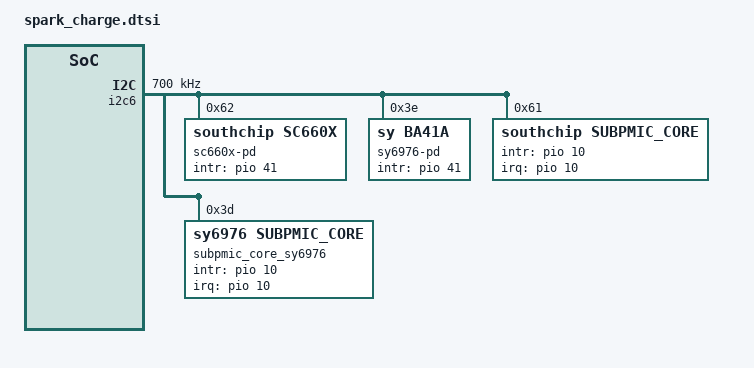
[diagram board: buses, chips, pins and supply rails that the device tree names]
#include "subpmic_irq.h"
&i2c6 {
	status = "okay";

	rt1711h@4e {
		compatible = "richtek,rt1711h";
		reg = <0x4e>;
		status = "disable";
		rt-tcpc,name = "type_c_port0"; /* tcpc_device's name */
		rt-tcpc,role_def = <5>; /* 0: Unknown, 1: SNK, 2: SRC */
					/* 3: DRP, 4: Try.SRC, 5: Try.SNK */
		rt-tcpc,rp_level = <0>; /* 0: Default, 1: 1.5, 2: 3.0 */
		rt-tcpc,vconn_supply  = <1>;  /* 0: Never, 1: Always, */
					      /* 2: EMarkOnly, 3: StartOnly */
		rt-tcpc,notifier_supply_num = <2>;
		rt1711pd,intr_gpio_num = <76>;
		pd-data {
			pd,vid = <0x29cf>;
			pd,pid = <0x1711>;
			pd,source-cap-ext = /bits/ 8 <0xcf 0x29 0x11 0x17
						      0x00 0x00 0x00 0x00
						      0x00 0x00 0x00 0x00
						      0x00 0x00 0x00 0x00
						      0x00 0x00 0x00 0x00
						      0x00 0x00 0x01 0x02
						      0x00>;
			pd,mfrs = "RichtekTCPC";

			/*
			 *	VSAFE5V = 0, MAX_POWER = 1, CUSTOM = 2,
			 *	MAX_POWER_LV = 0x21, MAX_POWER_LVIC = 0x31
			 *	MAX_POWER_HV = 0x41, MAX_POWER_HVIC = 0x51
			 */
			pd,charging_policy= <0x31>;

			/*
			 * Fixed 5V, 500 mA <0x00019032>
			 * Fixed 5V, 1A <0x00019064>
			 * Fixed 5V, 2A <0x000190c8>
			 * Fixed 5V, 3A <0x0001912c>
			 * Fixed 9V, 500 mA <0x0002d032>
			 * Fixed 9V, 1A <0x0002d064>
			 * Fixed 9V, 2A <0x0002d0c8>
			 * Fixed 9V, 3A <0x0002d12c>
			 * Variable 5-9V, 1A <0x8642d064>
			 * Variable 5-9V, 2A <0x8642d0c8>
			 * Variable 5-9V, 3A <0x8642d12c>
			 * PPS 3V~5.9V, 3A <0xC0761E3C>
			 */
			pd,source-pdo-size = <1>;
			pd,source-pdo-data = <0x00019064>;
			pd,sink-pdo-size = <1>;
			pd,sink-pdo-data = <0x0002d0c8>;

			/*
			 * No DP, host + device
			 *	pd,id-vdo-size = <6>;
			 *	pd,id-vdo-data = <0xd14029cf 0x0 0x17110000
						  0x61000000 0x0 0x41000000>;
			 * With DP
			 *	pd,id-vdo-size = <6>;
			 *	pd,id-vdo-data = <0xd54029cf 0x0 0x17110000
						  0x61000000 0x0 0x41000000>;
			 */

			pd,id-vdo-size = <6>;
			pd,id-vdo-data = <0xd14029cf 0x0 0x17110000
					  0x61000000 0x0 0x41000000>;

			bat,nr = <1>;
			pd,country_nr = <0>;

			bat-info0 {
				bat,vid = <0x29cf>;
				bat,pid = <0x1711>;
				bat,mfrs = "bat1";
				bat,design_cap = <3000>;
			};

			//bat-info1 {
			//	bat,vid = <0x8abc>;
			//	bat,pid = <0x5234>;
			//	bat,mfrs = "bat2";
			//	bat,design_cap = <4000>;
			//};

			//country0 {
			//	pd,country_code = <0x5457>;
			//	pd,country_len = <2>; /* max len = 26 */
			//	pd,country_data = <0xff 0xff>;
			//};

			//country1 {
			//	pd,country_code = <0x5553>;
			//	pd,country_len = <3>; /* max len = 26 */
			//	pd,country_data = <0xf1 0xf2 0xf3>;
			//};
		};
		dpm_caps {
			local_dr_power;
			local_dr_data;
			//local_ext_power;
			local_usb_comm;
			//local_usb_suspend;
			//local_high_cap;
			//local_give_back;
			local_no_suspend;
			local_vconn_supply;

			//attempt_discover_cable_dfp;
			attempt_enter_dp_mode;
			attempt_discover_cable;
			attempt_discover_id;

			/* 0: disable, 1: prefer_snk, 2: prefer_src */
			pr_check = <0>;
			//pr_reject_as_source;
			//pr_reject_as_sink;
			//pr_check_gp_source;
			//pr_check_gp_sink;

			/* 0: disable, 1: prefer_ufp, 2: prefer_dfp */
			dr_check = <0>;
			//dr_reject_as_dfp;
			//dr_reject_as_ufp;
		};
		displayport {
			/* connection type = "both", "ufp_d", "dfp_d" */
			1st_connection = "dfp_d";
			2nd_connection = "dfp_d";
			signal,dp_v13;
			//signal,dp_gen2;
			//usbr20_not_used;
			typec,receptacle;
			ufp_d {
				//pin_assignment,mode_a;
				//pin_assignment,mode_b;
				//pin_assignment,mode_c;
				//pin_assignment,mode_d;
				//pin_assignment,mode_e;
			};
			dfp_d {
				//pin_assignment,mode_a;
				//pin_assignment,mode_b;
				pin_assignment,mode_c;
				pin_assignment,mode_d;
				pin_assignment,mode_e;
				//pin_assignment,mode_f;
			};
		};
	};

	sc660x-pd@62{
		compatible = "southchip,sc660x";
		reg = <0x62>;
		status = "okay";
		sc-tcpc,name = "type_c_port0"; /* tcpc_device's name */
		sc-tcpc,role_def = <5>; /* 0: Unknown, 1: SNK, 2: SRC */
					/* 3: DRP, 4: Try.SRC, 5: Try.SNK */
		sc-tcpc,rp_level = <0>; /* 0: Default, 1: 1.5, 2: 3.0 */
		sc-tcpc,vconn_supply  = <0>;  /* 0: Never, 1: Always, */
					      /* 2: EMarkOnly, 3: StartOnly */
		sc-tcpc,notifier_supply_num = <2>;
                sc660x,intr_gpio = <&pio 41 0x0>;
		sc660x,intr_gpio_num = <41>;
		pd-data {
			pd,vid = <0x311c>;
			pd,pid = <0x6600>;
			pd,source-cap-ext = /bits/ 8 <0x1c 0x31 0x00 0x66
						      0x00 0x00 0x00 0x00
						      0x00 0x00 0x00 0x00
						      0x00 0x00 0x00 0x00
						      0x00 0x00 0x00 0x00
						      0x00 0x00 0x01 0x05
						      0x00>;
			pd,sink-cap-ext = /bits/ 8 <0x1c 0x31 0x00 0x66
							   0x00 0x00 0x00 0x00
							   0x01 0x00 0x00 0x00
							   0x00 0x00 0x00 0x00
							   0x01 0x00 0x00 0x00
							   0x00 0x00 0x00 0x00>;
			pd,mfrs = "SouthChip";

			/*
			 *	VSAFE5V = 0, MAX_POWER = 1, CUSTOM = 2,
			 *	MAX_POWER_LV = 0x21, MAX_POWER_LVIC = 0x31
			 *	MAX_POWER_HV = 0x41, MAX_POWER_HVIC = 0x51
			 */
			pd,charging_policy= <0x31>;

			/*
			 * Fixed 5V, 500 mA <0x00019032>
			 * Fixed 5V, 1A <0x00019064>
			 * Fixed 5V, 2A <0x000190c8>
			 * Fixed 5V, 3A <0x0001912c>
			 * Fixed 9V, 500 mA <0x0002d032>
			 * Fixed 9V, 1A <0x0002d064>
			 * Fixed 9V, 2A <0x0002d0c8>
			 * Fixed 9V, 3A <0x0002d12c>
			 * Variable 5-9V, 1A <0x8642d064>
			 * Variable 5-9V, 2A <0x8642d0c8>
			 * Variable 5-9V, 3A <0x8642d12c>
			 * PPS 3V~5.9V, 3A <0xC0761E3C>
			 */
			pd,source-pdo-size = <1>;
			/* Fixed 5V,1.5A */
			pd,source-pdo-data = <0x00019064>;
			pd,sink-pdo-size = <2>;
			pd,sink-pdo-data = <0x000190c8 0x0002d0c8>;
			/*0110 1110 0011 0010
			 * No DP, host + device
			 *	pd,id-vdo-size = <6>;
			 *	pd,id-vdo-data = <0xd14029cf 0x0 0x17110000
						  0x61000000 0x0 0x41000000>;
			 * With DP
			 *	pd,id-vdo-size = <6>;
			 *	pd,id-vdo-data = <0xd54029cf 0x0 0x17110000
						  0x61000000 0x0 0x41000000>;
			 */

			pd,id-vdo-size = <6>;
			pd,id-vdo-data = <0xd14029cf 0x0 0x17110000
						  0x61000000 0x0 0x41000000>;

			bat,nr = <1>;
			pd,country_nr = <0>;

			bat-info0 {
				bat,vid = <0x311c>;
				bat,pid = <0x6600>;
				bat,mfrs = "bat1";
				bat,design_cap = <3000>;
			};

		};
		dpm_caps {
			local_dr_power;
			local_dr_data;
			//local_ext_power;
			local_usb_comm;
			//local_usb_suspend;
			local_high_cap;
			//local_give_back;
			local_no_suspend;
			local_vconn_supply;

			//attempt_discover_cable_dfp;
			//attempt_enter_dp_mode;
			attempt_discover_cable;
			attempt_discover_id;
			attempt_discover_svid;

			/* 0: disable, 1: prefer_snk, 2: prefer_src */
			pr_check = <0>;
			//pr_reject_as_source;
			//pr_reject_as_sink;
			//pr_check_gp_source;
			//pr_check_gp_sink;

			/* 0: disable, 1: prefer_ufp, 2: prefer_dfp */
			dr_check = <0>;
			//dr_reject_as_dfp;
			//dr_reject_as_ufp;
		};
		displayport {
			/* connection type = "both", "ufp_d", "dfp_d" */
			1st_connection = "dfp_d";
			2nd_connection = "dfp_d";
			signal,dp_v13;
			//signal,dp_gen2;
			//usbr20_not_used;
			typec,receptacle;
			ufp_d {
				//pin_assignment,mode_a;
				//pin_assignment,mode_b;
				//pin_assignment,mode_c;
				//pin_assignment,mode_d;
				//pin_assignment,mode_e;
			};
			dfp_d {
				//pin_assignment,mode_a;
				//pin_assignment,mode_b;
				pin_assignment,mode_c;
				pin_assignment,mode_d;
				pin_assignment,mode_e;
				//pin_assignment,mode_f;
			};
		};
	};

	sy6976-pd@3e{
		compatible = "sy,ba41a";
		reg = <0x3e>;
		status = "okay";
		rt-tcpc,name = "type_c_port0"; /* tcpc_device's name */
		rt-tcpc,role_def = <1>; /* 0: Unknown, 1: SNK, 2: SRC */
					/* 3: DRP, 4: Try.SRC, 5: Try.SNK */
		rt-tcpc,rp_level = <0>; /* 0: Default, 1: 1.5, 2: 3.0 */
		rt-tcpc,vconn_supply  = <0>;  /* 0: Never, 1: Always, */
					      /* 2: EMarkOnly, 3: StartOnly */
		rt-tcpc,notifier_supply_num = <2>;
		rt1711pd,intr_gpio = <&pio 41 0x0>;
		rt1711pd,intr_gpio_num = <41>;
		pd-data {
			pd,vid = <0x2ACD>;
			pd,pid = <0x6976>;
			pd,source-cap-ext = /bits/ 8 <0xcd 0x2A 0x76 0x69
						      0x00 0x00 0x00 0x00
						      0x00 0x00 0x00 0x00
						      0x00 0x00 0x00 0x00
						      0x00 0x00 0x00 0x00
						      0x00 0x00 0x01 0x05
						      0x00>;
			pd,sink-cap-ext = /bits/ 8 <0xcd 0x2A 0x76 0x69
						      0x00 0x00 0x00 0x00
						      0x01 0x00 0x00 0x00
						      0x00 0x00 0x00 0x00
						      0x01 0x00 0x00 0x00
						      0x00 0x00 0x00 0x00>;
			pd,mfrs = "RichtekTCPC";

			/*
			 *	VSAFE5V = 0, MAX_POWER = 1, CUSTOM = 2,
			 *	MAX_POWER_LV = 0x21, MAX_POWER_LVIC = 0x31
			 *	MAX_POWER_HV = 0x41, MAX_POWER_HVIC = 0x51
			 */
			pd,charging_policy= <0x31>;

			/*
			 * Fixed 5V, 500 mA <0x00019032>
			 * Fixed 5V, 1A <0x00019064>
			 * Fixed 5V, 2A <0x000190c8>
			 * Fixed 5V, 3A <0x0001912c>
			 * Fixed 9V, 500 mA <0x0002d032>
			 * Fixed 9V, 1A <0x0002d064>
			 * Fixed 9V, 2A <0x0002d0c8>
			 * Fixed 9V, 3A <0x0002d12c>
			 * Variable 5-9V, 1A <0x8642d064>
			 * Variable 5-9V, 2A <0x8642d0c8>
			 * Variable 5-9V, 3A <0x8642d12c>
			 * PPS 3V~5.9V, 3A <0xC0761E3C>
			 */
			pd,source-pdo-size = <1>;
			pd,source-pdo-data = <0x00019064>;
			pd,sink-pdo-size = <2>;
			pd,sink-pdo-data = <0x000190c8 0x0002d0c8>;

			/*
			 * No DP, host + device
			 *	pd,id-vdo-size = <6>;
			 *	pd,id-vdo-data = <0xd14029cf 0x0 0x17110000
						  0x61000000 0x0 0x41000000>;
			 * With DP
			 *	pd,id-vdo-size = <6>;
			 *	pd,id-vdo-data = <0xd54029cf 0x0 0x17110000
						  0x61000000 0x0 0x41000000>;
			 */

			pd,id-vdo-size = <6>;
			pd,id-vdo-data = <0xd14029cf 0x0 0x17110000
						  0x61000000 0x0 0x41000000>;

			bat,nr = <1>;
			pd,country_nr = <0>;

			bat-info0 {
				bat,vid = <0x2ACD>;
				bat,pid = <0x6976>;
				bat,mfrs = "bat1";
				bat,design_cap = <3000>;
			};

			//bat-info1 {
			//	bat,vid = <0x8abc>;
			//	bat,pid = <0x5234>;
			//	bat,mfrs = "bat2";
			//	bat,design_cap = <4000>;
			//};

			//country0 {
			//	pd,country_code = <0x5457>;
			//	pd,country_len = <2>; /* max len = 26 */
			//	pd,country_data = <0xff 0xff>;
			//};

			//country1 {
			//	pd,country_code = <0x5553>;
			//	pd,country_len = <3>; /* max len = 26 */
			//	pd,country_data = <0xf1 0xf2 0xf3>;
			//};
		};
		dpm_caps {
			local_dr_power;
			local_dr_data;
			//local_ext_power;
			local_usb_comm;
			//local_usb_suspend;
			local_high_cap;
			//local_give_back;
			local_no_suspend;
			local_vconn_supply;

			//attempt_discover_cable_dfp;
			//attempt_enter_dp_mode;
			attempt_discover_cable;
			attempt_discover_id;
                        attempt_discover_svid;

			/* 0: disable, 1: prefer_snk, 2: prefer_src */
			pr_check = <0>;
			//pr_reject_as_source;
			//pr_reject_as_sink;
			//pr_check_gp_source;
			//pr_check_gp_sink;

			/* 0: disable, 1: prefer_ufp, 2: prefer_dfp */
			dr_check = <0>;
			//dr_reject_as_dfp;
			//dr_reject_as_ufp;
		};
		displayport {
			/* connection type = "both", "ufp_d", "dfp_d" */
			1st_connection = "dfp_d";
			2nd_connection = "dfp_d";
			signal,dp_v13;
			//signal,dp_gen2;
			//usbr20_not_used;
			typec,receptacle;
			ufp_d {
				//pin_assignment,mode_a;
				//pin_assignment,mode_b;
				//pin_assignment,mode_c;
				//pin_assignment,mode_d;
				//pin_assignment,mode_e;
			};
			dfp_d {
				//pin_assignment,mode_a;
				//pin_assignment,mode_b;
				pin_assignment,mode_c;
				pin_assignment,mode_d;
				pin_assignment,mode_e;
				//pin_assignment,mode_f;
			};
		};
	};
};


&i2c6 {
	status = "okay";
	clock-frequency = <700000>;

	subpmic_core@61 {
		compatible = "southchip,subpmic_core";
		reg = <0x61>;
		status = "okay";
		interrupt-parent = <&pio>;
		interrupts = <10 0>;
		intr-gpio = <&pio 10 0>;
		charger_name = "primary_chg";
		/*phys = <&u2port0 PHY_TYPE_USB2>;
		phy-names = "usb2-phy";
		usb = <&usb>;*/
		interrupt-controller;
		#interrupt-cells = <1>;
		subpmic_chg {
			compatible = "southchip,subpmic_chg";
			interrupts = <SUBPMIC_IRQ_HK>, <SUBPMIC_IRQ_CHARGER>,
							<SUBPMIC_IRQ_DPDM>, <SUBPMIC_IRQ_LED>;
			interrupt-names = "Hourse Keeping", "Buck Charger",
								"DPDM", "LED";
			sc,vsys-limit = <3500>;
			sc,batsnc-enable = <0>;
			sc,vbat = <4450>;
			sc,charge-curr = <3600>;
			sc,iindpm-disable = <0>;
			sc,input-curr-limit = <2000>;
			sc,ico-enable = <0>;
			sc,iindpm-ico = <100>;
			sc,precharge-volt = <1>;      /* 0:2900mv, 1:3000, 2:3100, 3:3200 */
			sc,precharge-curr = <500>;
			sc,term-en = <1>;
			sc,term-curr = <350>;     /* ma */
			sc,rechg-dis = <0>;
			sc,rechg-dg = <0>;    /* 0:64ms , 1:256ms , 2:1024ms , 3:2048ms */
			sc,rechg-volt = <0>;  /* 0:100mv , 1:200mv , 2:300mv , 3:400mv */
			sc,boost-voltage = <5000>;
			sc,boost-max-current = <1500>;
			sc,conv-ocp-dis = <0>;
			sc,tsbat-jeita-dis = <1>;
			sc,ibat-ocp-dis = <0>;
			sc,vpmid-ovp-otg-dis = <0>;
			sc,vbat-ovp-buck-dis = <0>;
			sc,ibat-ocp = <1>;    /* 0:12A , 1:16A */
			sc,safety-timer = <3>;
			status = "okay";
		};
		subpmic_cid {
			compatible = "southchip,subpmic_cid";
			interrupts = <SUBPMIC_IRQ_CID>;
			interrupt-names = "CID";
		};
	};

	subpmic_core_sy6976@3d {
		compatible = "sy6976,subpmic_core";
		reg = <0x3d>;
		status = "okay";
		interrupt-parent = <&pio>;
		interrupts = <10 0>;
		intr-gpio = <&pio 10 0>;
		charger_name = "primary_chg";
		/*phys = <&u2port0 PHY_TYPE_USB2>;
		phy-names = "usb2-phy";
		usb = <&usb>;*/
		interrupt-controller;
		#interrupt-cells = <1>;
		subpmic_chg {
			compatible = "sy6976,subpmic_chg";
			interrupts = <SUBPMIC_IRQ_HK>, <SUBPMIC_IRQ_CHARGER>,
							<SUBPMIC_IRQ_DPDM>, <SUBPMIC_IRQ_LED>;
			interrupt-names = "Hourse Keeping", "Buck Charger",
								"DPDM", "LED";
			sc,vsys-limit = <3500>;
			sc,batsnc-enable = <0>;
			sc,vbat = <4450>;
			sc,charge-curr = <3600>;
			sc,iindpm-disable = <0>;
			sc,input-curr-limit = <2000>;
			sc,ico-enable = <0>;
			sc,iindpm-ico = <100>;
			sc,precharge-volt = <1>;      /* 0:2900mv, 1:3000, 2:3100, 3:3200 */
			sc,precharge-curr = <500>;
			sc,term-en = <1>;
			sc,term-curr = <350>;     /* ma */
			sc,rechg-dis = <0>;
			sc,rechg-dg = <0>;    /* 0:64ms , 1:256ms , 2:1024ms , 3:2048ms */
			sc,rechg-volt = <0>;  /* 0:100mv , 1:200mv , 2:300mv , 3:400mv */
			sc,boost-voltage = <5000>;
			sc,boost-max-current = <1500>;
			sc,conv-ocp-dis = <0>;
			sc,tsbat-jeita-dis = <1>;
			sc,ibat-ocp-dis = <0>;
			sc,vpmid-ovp-otg-dis = <0>;
			sc,vbat-ovp-buck-dis = <0>;
			sc,ibat-ocp = <1>;    /* 0:12A , 1:16A */
			sc,safety-timer = <3>;
			status = "okay";
		};
		subpmic_cid {
			compatible = "sy6976,subpmic_cid";
			interrupts = <SUBPMIC_IRQ_CID>;
			interrupt-names = "CID";
		};
	};
};

